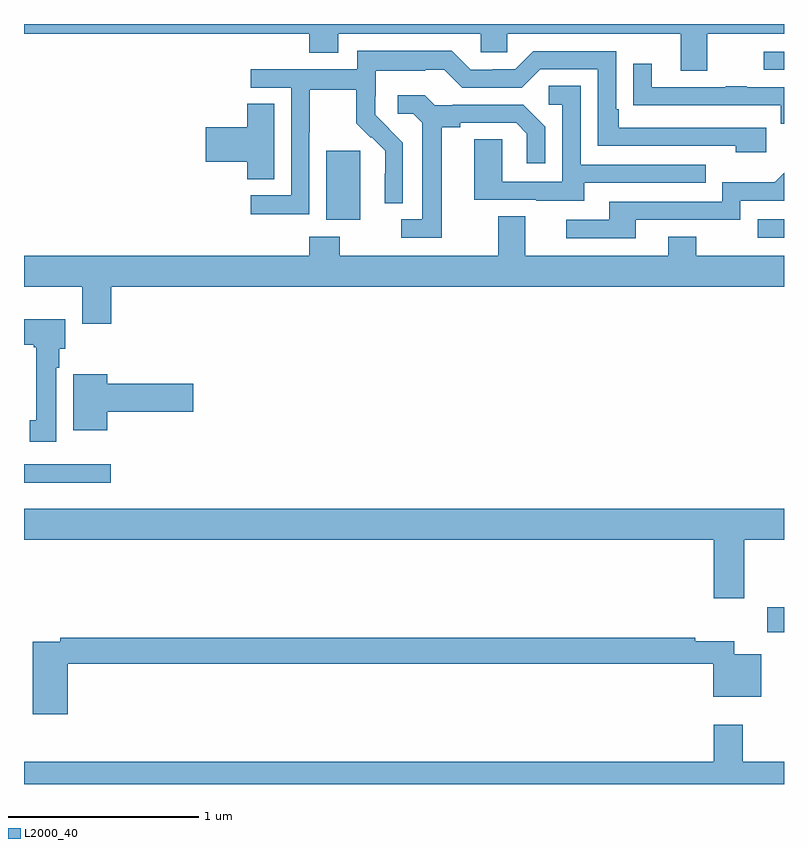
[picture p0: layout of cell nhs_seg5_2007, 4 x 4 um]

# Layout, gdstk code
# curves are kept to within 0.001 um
import gdstk
lib = gdstk.Library(unit=1e-6, precision=1e-09)
def R(c, l, rs):  # rectangles x0, y0, x1, y1
    for r in rs: c.add(gdstk.rectangle(r[:2], r[2:], *l))
def P(c, l, *ps):  # polygons
    for p in ps: c.add(gdstk.Polygon(p, *l))
L2000_40 = (2000, 40)

nhs_seg5_2007 = lib.new_cell('nhs_seg5_2007')
R(nhs_seg5_2007, L2000_40, [(232.911,865.599,233,865.728), (229,866.384,229.456,866.481), (232.863,867.675,233,867.771), (230.591,867.77,230.77,868.131), (232.893,868.557,233,868.653)])
P(nhs_seg5_2007, L2000_40, [(232.597,868.748),(233,868.748),(233,868.799),(229,868.799),(229,868.748),(230.501,868.748),(230.501,868.649),(230.653,868.649),(230.653,868.748),(231.405,868.748),(231.405,868.65),(231.543,868.65),(231.543,868.748),(232.457,868.748),(232.457,868.554),(232.597,868.554)],
  [(230.502,868.228),(230.505,868.228),(230.505,868.452),(230.749,868.452),(230.749,868.277),(230.826,868.2),(230.829,868.203),(230.9,868.133),(230.9,868.01),(230.898,868.01),(230.898,867.856),(230.994,867.856),(230.994,868.174),(230.848,868.322),(230.848,868.419),(230.85,868.419),(230.85,868.553),(231.113,868.553),(231.113,868.557),(231.213,868.557),(231.306,868.464),(231.621,868.464),(231.717,868.56),(232.02,868.56),(232.02,868.158),(232.745,868.158),(232.745,868.124),(232.906,868.124),(232.906,868.254),(232.129,868.254),(232.129,868.351),(232.116,868.351),(232.116,868.656),(231.681,868.656),(231.585,868.56),(231.467,868.56),(231.467,868.557),(231.351,868.557),(231.251,868.657),(230.754,868.657),(230.754,868.56),(230.193,868.56),(230.193,868.464),(230.406,868.464),(230.406,867.897),(230.193,867.897),(230.193,867.799),(230.502,867.799)],
  [(233,868.467),(232.805,868.467),(232.805,868.472),(232.693,868.472),(232.693,868.467),(232.303,868.467),(232.303,868.591),(232.207,868.591),(232.207,868.372),(232.309,868.372),(232.309,868.371),(232.984,868.371),(232.984,868.274),(233,868.274)],
  [(231.949,867.963),(232.589,867.963),(232.589,868.059),(231.93,868.059),(231.93,868.475),(231.762,868.475),(231.762,868.374),(231.834,868.374),(231.834,867.969),(231.516,867.969),(231.516,868.193),(231.371,868.193),(231.371,867.873),(231.695,867.873),(231.695,867.869),(231.949,867.869)],
  [(231.199,868.256),(231.295,868.256),(231.295,868.278),(231.59,868.278),(231.647,868.221),(231.647,868.065),(231.744,868.065),(231.744,868.258),(231.628,868.374),(231.256,868.374),(231.256,868.371),(231.162,868.371),(231.11,868.423),(230.967,868.423),(230.967,868.326),(231.048,868.326),(231.095,868.279),(231.095,867.771),(230.985,867.771),(230.985,867.675),(231.199,867.675)],
  [(230.317,868.379),(230.174,868.379),(230.174,868.256),(229.956,868.256),(229.956,868.073),(230.174,868.073),(230.174,867.982),(230.317,867.982)],
  [(232.219,867.768),(232.77,867.768),(232.77,867.87),(233,867.87),(233,868.016),(232.951,867.967),(232.674,867.967),(232.674,867.864),(232.079,867.864),(232.079,867.768),(231.855,867.768),(231.855,867.672),(232.219,867.672)],
  [(229.46,867.416),(233,867.416),(233,867.58),(232.539,867.58),(232.539,867.679),(232.391,867.679),(232.391,867.58),(231.637,867.58),(231.637,867.788),(231.497,867.788),(231.497,867.58),(230.661,867.58),(230.661,867.679),(230.501,867.679),(230.501,867.58),(229,867.58),(229,867.416),(229.307,867.416),(229.307,867.222),(229.46,867.222)],
  [(229.171,866.99),(229.186,866.99),(229.186,867.09),(229.216,867.09),(229.216,867.244),(229,867.244),(229,867.11),(229.051,867.11),(229.051,867.097),(229.064,867.097),(229.064,866.714),(229.031,866.714),(229.031,866.601),(229.171,866.601)],
  [(229.438,866.759),(229.891,866.759),(229.891,866.906),(229.438,866.906),(229.438,866.956),(229.259,866.956),(229.259,866.66),(229.438,866.66)],
  [(232.791,866.084),(233,866.084),(233,866.248),(229,866.248),(229,866.084),(232.631,866.084),(232.631,865.776),(232.791,865.776)],
  [(229.229,865.432),(232.628,865.432),(232.628,865.259),(232.879,865.259),(232.879,865.483),(232.738,865.483),(232.738,865.551),(232.532,865.551),(232.532,865.568),(229.192,865.568),(229.192,865.548),(229.046,865.548),(229.046,865.167),(229.229,865.167)],
  [(229,864.799),(233,864.799),(233,864.916),(232.783,864.916),(232.783,865.111),(232.631,865.111),(232.631,864.916),(229,864.916)])

lib.write_gds('nhs_seg5_2007.gds')
